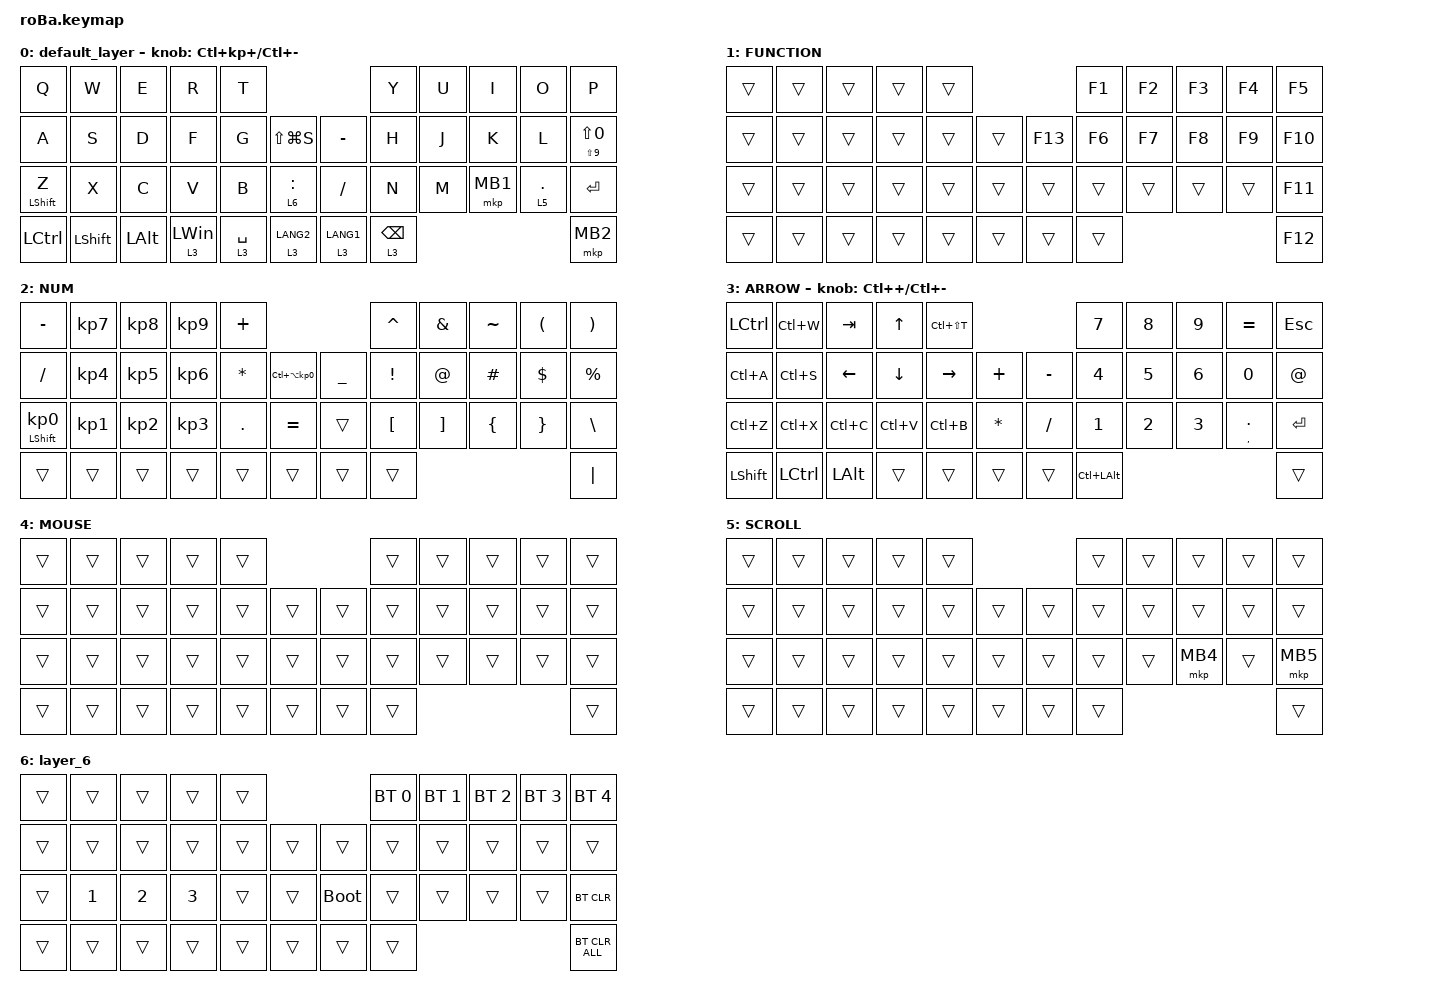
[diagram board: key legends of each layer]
#include <behaviors.dtsi>
#include <dt-bindings/zmk/bt.h>
#include <dt-bindings/zmk/keys.h>
#include <dt-bindings/zmk/pointing.h>

#define MOUSE 4
#define SCROLL 5
#define NUM 6

&mt {
    flavor = "balanced";
    quick-tap-ms = <0>;
};

/ {
    combos {
        compatible = "zmk,combos";

        tab {
            bindings = <&kp TAB>;
            key-positions = <11 12>;
        };

        shift_tab {
            bindings = <&kp LS(TAB)>;
            key-positions = <12 13>;
        };

        muhennkann {
            bindings = <&to_layer_0 INT_MUHENKAN>;
            key-positions = <11 10>;
        };

        double_quotation {
            bindings = <&kp DOUBLE_QUOTES>;
            key-positions = <20 21>;
        };

        eq {
            bindings = <&kp EQUAL>;
            key-positions = <24 25>;
        };
    };

    macros {
        to_layer_0: to_layer_0 {
            compatible = "zmk,behavior-macro-one-param";
            #binding-cells = <1>;
            bindings = <&to 0 &macro_param_1to1 &kp MACRO_PLACEHOLDER>;
            label = "TO_LAYER_0";
        };
    };

    behaviors {
        lt_to_layer_0: lt_to_layer_0 {
            compatible = "zmk,behavior-hold-tap";
            label = "LAYER_TAP_TO_0";
            bindings = <&mo>, <&to_layer_0>;

            #binding-cells = <2>;
            tapping-term-ms = <200>;
        };
    };

    keymap {
        compatible = "zmk,keymap";

        default_layer {
            bindings = <
&kp Q             &kp W           &kp E         &kp R                  &kp T                                                 &kp Y            &kp U  &kp I     &kp O      &kp P
&kp A             &kp S           &kp D         &kp F                  &kp G        &kp LS(LG(S))               &kp MINUS    &kp H            &kp J  &kp K     &kp L      &mt LS(N9) LS(NUMBER_0)
&mt LEFT_SHIFT Z  &kp X           &kp C         &kp V                  &kp B        &lt 6 COLON                 &kp SLASH    &kp N            &kp M  &mkp MB1  &lt 5 DOT  &kp ENTER
&kp LCTRL         &kp LEFT_SHIFT  &kp LEFT_ALT  &lt_to_layer_0 3 LWIN  &lt 3 SPACE  &lt_to_layer_0 3 LANG2      &lt 3 LANG1  &lt 3 BACKSPACE                              &mkp MB2
            >;

            sensor-bindings = <&inc_dec_kp LC(KP_PLUS) LC(MINUS)>;
        };

        FUNCTION {
            bindings = <
&trans  &trans  &trans  &trans  &trans                       &kp F1  &kp F2  &kp F3  &kp F4  &kp F5
&trans  &trans  &trans  &trans  &trans  &trans      &kp F13  &kp F6  &kp F7  &kp F8  &kp F9  &kp F10
&trans  &trans  &trans  &trans  &trans  &trans      &trans   &trans  &trans  &trans  &trans  &kp F11
&trans  &trans  &trans  &trans  &trans  &trans      &trans   &trans                          &kp F12
            >;
        };

        NUM {
            bindings = <
&kp MINUS                   &kp KP_NUMBER_7  &kp KP_NUMBER_8  &kp KP_NUMBER_9  &kp PLUS                                                   &kp CARET         &kp AMPERSAND      &kp TILDE       &kp LEFT_PARENTHESIS  &kp RIGHT_PARENTHESIS
&kp SLASH                   &kp KP_NUMBER_4  &kp KP_NUMBER_5  &kp KP_NUMBER_6  &kp ASTERISK  &kp LC(LA(KP_NUMBER_0))      &kp UNDERSCORE  &kp EXCLAMATION   &kp AT_SIGN        &kp HASH        &kp DOLLAR            &kp PERCENT
&mt LEFT_SHIFT KP_NUMBER_0  &kp KP_NUMBER_1  &kp KP_NUMBER_2  &kp KP_NUMBER_3  &kp PERIOD    &kp EQUAL                    &trans          &kp LEFT_BRACKET  &kp RIGHT_BRACKET  &kp LEFT_BRACE  &kp RIGHT_BRACE       &kp BACKSLASH
&trans                      &trans           &trans           &trans           &trans        &trans                       &trans          &trans                                                                     &kp PIPE
            >;
        };

        ARROW {
            bindings = <
&kp LCTRL       &kp LC(W)  &kp TAB         &kp UP_ARROW    &kp LC(LS(T))                                 &kp N7            &kp N8        &kp N9        &kp EQUAL      &kp ESCAPE
&kp LC(A)       &kp LC(S)  &kp LEFT_ARROW  &kp DOWN_ARROW  &kp RIGHT_ARROW  &kp PLUS          &kp MINUS  &kp NUMBER_4      &kp N5        &kp NUMBER_6  &kp N0         &kp AT
&kp LC(Z)       &kp LC(X)  &kp LC(C)       &kp LC(V)       &kp LC(B)        &kp ASTERISK      &kp SLASH  &kp NUMBER_1      &kp NUMBER_2  &kp NUMBER_3  &mt COMMA DOT  &kp RET
&kp LEFT_SHIFT  &kp LCTRL  &kp LEFT_ALT    &trans          &trans           &trans            &trans     &kp LC(LEFT_ALT)                                             &trans
            >;

            sensor-bindings = <&inc_dec_kp LC(PLUS) LC(MINUS)>;
        };

        MOUSE {
            bindings = <
&trans  &trans  &trans  &trans  &trans                      &trans  &trans  &trans  &trans  &trans
&trans  &trans  &trans  &trans  &trans  &trans      &trans  &trans  &trans  &trans  &trans  &trans
&trans  &trans  &trans  &trans  &trans  &trans      &trans  &trans  &trans  &trans  &trans  &trans
&trans  &trans  &trans  &trans  &trans  &trans      &trans  &trans                          &trans
            >;
        };

        SCROLL {
            bindings = <
&trans  &trans  &trans  &trans  &trans                      &trans  &trans  &trans    &trans  &trans
&trans  &trans  &trans  &trans  &trans  &trans      &trans  &trans  &trans  &trans    &trans  &trans
&trans  &trans  &trans  &trans  &trans  &trans      &trans  &trans  &trans  &mkp MB4  &trans  &mkp MB5
&trans  &trans  &trans  &trans  &trans  &trans      &trans  &trans                            &trans
            >;
        };

        layer_6 {
            bindings = <
&trans  &trans        &trans        &trans        &trans                           &bt BT_SEL 0  &bt BT_SEL 1  &bt BT_SEL 2  &bt BT_SEL 3  &bt BT_SEL 4
&trans  &trans        &trans        &trans        &trans  &trans      &trans       &trans        &trans        &trans        &trans        &trans
&trans  &kp NUMBER_1  &kp NUMBER_2  &kp NUMBER_3  &trans  &trans      &bootloader  &trans        &trans        &trans        &trans        &bt BT_CLR
&trans  &trans        &trans        &trans        &trans  &trans      &trans       &trans                                                  &bt BT_CLR_ALL
            >;
        };
    };
};
